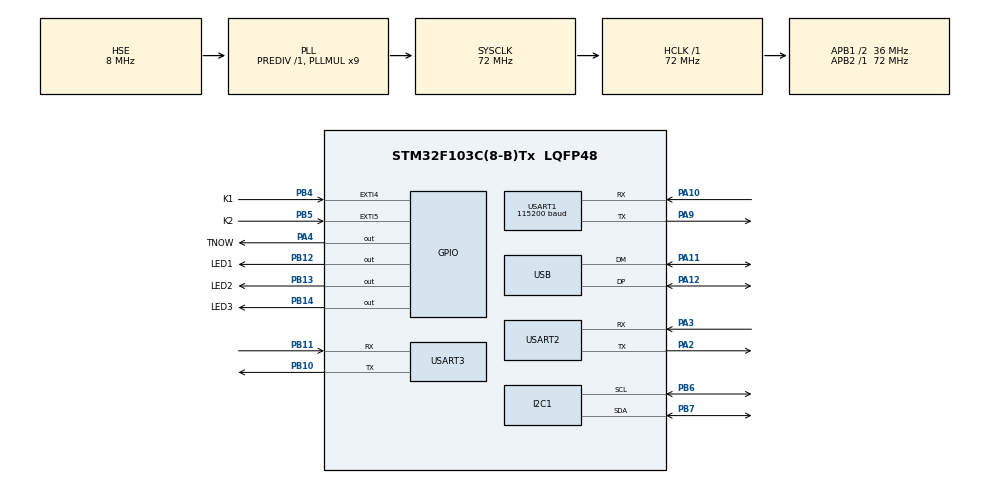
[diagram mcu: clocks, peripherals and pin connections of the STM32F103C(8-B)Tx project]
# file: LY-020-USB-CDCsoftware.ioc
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Mcu.Family=STM32F1
Mcu.Name=STM32F103C(8-B)Tx
Mcu.Package=LQFP48
NVIC.EXTI4_IRQn=true\:0\:0\:false\:false\:true\:true\:true\:true
NVIC.EXTI9_5_IRQn=true\:0\:0\:false\:false\:true\:true\:true\:true
NVIC.PriorityGroup=NVIC_PRIORITYGROUP_4
NVIC.RCC_IRQn=true\:0\:0\:false\:false\:true\:true\:false\:true
NVIC.USB_LP_CAN1_RX0_IRQn=true\:0\:0\:false\:false\:true\:false\:true\:true
PA10.Mode=Asynchronous
PA10.Signal=USART1_RX
PA11.Mode=Device
PA11.Signal=USB_DM
PA12.Mode=Device
PA12.Signal=USB_DP
PA13.Mode=Serial_Wire
PA13.Signal=SYS_JTMS-SWDIO
PA14.Mode=Serial_Wire
PA14.Signal=SYS_JTCK-SWCLK
PA2.Mode=Asynchronous
PA2.Signal=USART2_TX
PA3.Mode=Asynchronous
PA3.Signal=USART2_RX
PA4.GPIO_Label=TNOW
PA4.GPIO_Speed=GPIO_SPEED_FREQ_MEDIUM
PA4.Signal=GPIO_Output
PA9.Mode=Asynchronous
PA9.Signal=USART1_TX
PB10.Mode=Asynchronous
PB10.Signal=USART3_TX
PB11.Mode=Asynchronous
PB11.Signal=USART3_RX
PB12.GPIO_Label=LED1
PB12.Signal=GPIO_Output
PB13.GPIO_Label=LED2
PB13.Signal=GPIO_Output
PB14.GPIO_Label=LED3
PB14.Signal=GPIO_Output
PB4.GPIO_Label=K1
PB4.GPIO_ModeDefaultEXTI=GPIO_MODE_IT_FALLING
PB4.Signal=GPXTI4
PB5.GPIO_Label=K2
PB5.GPIO_ModeDefaultEXTI=GPIO_MODE_IT_FALLING
PB5.Signal=GPXTI5
PB6.Mode=I2C
PB6.Signal=I2C1_SCL
PB7.Mode=I2C
PB7.Signal=I2C1_SDA
PB8.Signal=CAN_RX
PB9.Signal=CAN_TX
PC14-OSC32_IN.Mode=LSE-External-Oscillator
PC14-OSC32_IN.Signal=RCC_OSC32_IN
PC15-OSC32_OUT.Mode=LSE-External-Oscillator
PC15-OSC32_OUT.Signal=RCC_OSC32_OUT
PD0-OSC_IN.Mode=HSE-External-Oscillator
PD0-OSC_IN.Signal=RCC_OSC_IN
PD1-OSC_OUT.Mode=HSE-External-Oscillator
PD1-OSC_OUT.Signal=RCC_OSC_OUT
ProjectManager.HeapSize=0x400
ProjectManager.StackSize=0x800
ProjectManager.TargetToolchain=MDK-ARM V5.32
RCC.AHBFreq_Value=72000000
RCC.APB1CLKDivider=RCC_HCLK_DIV2
RCC.APB1Freq_Value=36000000
RCC.APB1TimFreq_Value=72000000
RCC.APB2Freq_Value=72000000
RCC.APB2TimFreq_Value=72000000
RCC.HCLKFreq_Value=72000000
RCC.PLLMUL=RCC_PLL_MUL9
RCC.PLLSourceVirtual=RCC_PLLSOURCE_HSE
RCC.SYSCLKFreq_VALUE=72000000
RCC.SYSCLKSource=RCC_SYSCLKSOURCE_PLLCLK
RCC.USBFreq_Value=48000000
RCC.USBPrescaler=RCC_USBCLKSOURCE_PLL_DIV1_5
USART1.BaudRate=115200
USART1.VirtualMode=VM_ASYNC
USART2.VirtualMode=VM_ASYNC
USART3.VirtualMode=VM_ASYNC
USB_DEVICE.CLASS_NAME_FS=CDC
USB_DEVICE.USBD_SELF_POWERED=0
USB_DEVICE.VirtualMode=Cdc
USB_DEVICE.VirtualModeFS=Cdc_FS
VP_USB_DEVICE_VS_USB_DEVICE_CDC_FS.Mode=CDC_FS
board=custom

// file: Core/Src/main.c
/* USER CODE BEGIN Header */
/**
  ******************************************************************************
  * @file           : main.c
  * @brief          : Main program body
  ******************************************************************************
  * @attention
  *
  * Copyright (c) 2025 STMicroelectronics.
  * All rights reserved.
  *
  * This software is licensed under terms that can be found in the LICENSE file
  * in the root directory of this software component.
  * If no LICENSE file comes with this software, it is provided AS-IS.
  *
  ******************************************************************************
  */
/* USER CODE END Header */
#include "main.h"
#include "usb_device.h"

/* USER CODE BEGIN Includes */
#include "stdio.h"
#include "OLED_IIC_Config.h"
#include "OLED_Function.h"
#include "OLED_Front.h"
/* USER CODE END Includes */

I2C_HandleTypeDef hi2c1;

UART_HandleTypeDef huart1;
UART_HandleTypeDef huart2;
UART_HandleTypeDef huart3;

/* USER CODE BEGIN PV */
char buff[] = "USB CDC TESTING Hello World!\r\n";
/* USER CODE END PV */

void SystemClock_Config(void);
static void MX_GPIO_Init(void);
static void MX_USART1_UART_Init(void);
static void MX_I2C1_Init(void);
static void MX_USART2_UART_Init(void);
static void MX_USART3_UART_Init(void);

/* USER CODE BEGIN 0 */

#ifdef __GNUC__
  #define PUTCHAR_PROTOTYPE int __io_putchar(int ch)
#else
  #define PUTCHAR_PROTOTYPE int fputc(int ch, FILE *f)
#endif

PUTCHAR_PROTOTYPE
{
  HAL_UART_Transmit(&huart1,(uint8_t *)&ch,1,0xFFFF); //阻塞方式打印,串口1
  return ch;
}

/*
void USB_Disconnected(void) {
    __HAL_RCC_USB_FORCE_RESET();
    HAL_Delay(200);
    __HAL_RCC_USB_RELEASE_RESET();

    GPIO_InitTypeDef GPIO_Initure;
    __HAL_RCC_GPIOA_CLK_ENABLE();

    GPIO_Initure.Pin = GPIO_PIN_11 | GPIO_PIN_12;
    GPIO_Initure.Mode = GPIO_MODE_OUTPUT_PP;
    GPIO_Initure.Pull = GPIO_PULLDOWN;
    GPIO_Initure.Speed = GPIO_SPEED_FREQ_HIGH;
    HAL_GPIO_Init(GPIOA, &GPIO_Initure);

    HAL_GPIO_WritePin(GPIOA, GPIO_PIN_11, GPIO_PIN_RESET);
    HAL_GPIO_WritePin(GPIOA, GPIO_PIN_12, GPIO_PIN_RESET);
    HAL_Delay(300);
}
*/

/* USER CODE END 0 */

int main(void)
{

  /* MCU Configuration--------------------------------------------------------*/

  /* Reset of all peripherals, Initializes the Flash interface and the Systick. */
  HAL_Init();

  /* Configure the system clock */
  SystemClock_Config();

  /* Initialize all configured peripherals */
  MX_GPIO_Init();
  MX_USART1_UART_Init();
  MX_I2C1_Init();
  MX_USART2_UART_Init();
  MX_USART3_UART_Init();
  MX_USB_DEVICE_Init();

  /* Infinite loop */
  while (1)
  {

    /* USER CODE BEGIN 3 */
		 CDC_Transmit_FS(buff,sizeof(buff)); //USB 虚拟串口发送数据
	  //HAL_Delay(500);

	 // printf("LAN YUAN TECH\r\n");

	  //HAL_UART_Transmit(&huart1,"LAN YUAN TECH\r\n",strlen("LAN YUAN TECH\r\n"),0xFFFF);

	  HAL_GPIO_TogglePin(LED1_GPIO_Port, LED1_Pin);
	  HAL_Delay(200);
	  HAL_GPIO_TogglePin(LED2_GPIO_Port, LED2_Pin);
	  HAL_Delay(200);
	  HAL_GPIO_TogglePin(LED3_GPIO_Port, LED3_Pin);
	  HAL_Delay(200);
	  HAL_GPIO_TogglePin(LED1_GPIO_Port, LED1_Pin);
	  HAL_Delay(200);
	  HAL_GPIO_TogglePin(LED2_GPIO_Port, LED2_Pin);
	  HAL_Delay(200);
	  HAL_GPIO_TogglePin(LED3_GPIO_Port, LED3_Pin);
	  HAL_Delay(200);

	  //printf("LAN YUAN TECH\r\n"); //USART1发送-USB
	  HAL_UART_Transmit(&huart1,"LAN YUAN TECH\r\n",strlen("LAN YUAN TECH\r\n"),0xFFFF);

	  HAL_GPIO_WritePin(TNOW_GPIO_Port, TNOW_Pin, SET);								//USART2-TNOW 高电平 发送使能
	  HAL_UART_Transmit(&huart2,"LAN YUAN TECH",strlen("LAN YUAN TECH"),0xFFFF);	//USART2发送-RS485
	  HAL_GPIO_WritePin(TNOW_GPIO_Port, TNOW_Pin, RESET);							//USART2-TNOW 低电平 接收使能

	  HAL_UART_Transmit(&huart3,"LAN YUAN TECH",strlen("LAN YUAN TECH"),0xFFFF);	//USART3发送-RS232

	 	      OLED_ShowBMP(0,0,52,48,(unsigned char *)astronaut_0);
	 	      OLED_ShowBMP(0,0,52,48,(unsigned char *)astronaut_1);
	 	      OLED_ShowBMP(0,0,52,48,(unsigned char *)astronaut_2);
	 	      OLED_ShowBMP(0,0,52,48,(unsigned char *)astronaut_3);
	 	      OLED_ShowBMP(0,0,52,48,(unsigned char *)astronaut_4);
	 	      OLED_ShowBMP(0,0,52,48,(unsigned char *)astronaut_5);
	 	      OLED_ShowBMP(0,0,52,48,(unsigned char *)astronaut_6);
	 	      OLED_ShowBMP(0,0,52,48,(unsigned char *)astronaut_7);
	 	      OLED_ShowBMP(0,0,52,48,(unsigned char *)astronaut_8);
	 	      OLED_ShowBMP(0,0,52,48,(unsigned char *)astronaut_9);

	 	      printf("PIC cycle DISP ++\r\n");

  }
  /* USER CODE END 3 */
}

void SystemClock_Config(void)
{
  RCC_OscInitTypeDef RCC_OscInitStruct = {0};
  RCC_ClkInitTypeDef RCC_ClkInitStruct = {0};
  RCC_PeriphCLKInitTypeDef PeriphClkInit = {0};

  /** Initializes the RCC Oscillators according to the specified parameters
  * in the RCC_OscInitTypeDef structure.
  */
  RCC_OscInitStruct.OscillatorType = RCC_OSCILLATORTYPE_HSE;
  RCC_OscInitStruct.HSEState = RCC_HSE_ON;
  RCC_OscInitStruct.HSEPredivValue = RCC_HSE_PREDIV_DIV1;
  RCC_OscInitStruct.HSIState = RCC_HSI_ON;
  RCC_OscInitStruct.PLL.PLLState = RCC_PLL_ON;
  RCC_OscInitStruct.PLL.PLLSource = RCC_PLLSOURCE_HSE;
  RCC_OscInitStruct.PLL.PLLMUL = RCC_PLL_MUL9;
  if (HAL_RCC_OscConfig(&RCC_OscInitStruct) != HAL_OK)
  {
    Error_Handler();
  }

  /** Initializes the CPU, AHB and APB buses clocks
  */
  RCC_ClkInitStruct.ClockType = RCC_CLOCKTYPE_HCLK|RCC_CLOCKTYPE_SYSCLK
                              |RCC_CLOCKTYPE_PCLK1|RCC_CLOCKTYPE_PCLK2;
  RCC_ClkInitStruct.SYSCLKSource = RCC_SYSCLKSOURCE_PLLCLK;
  RCC_ClkInitStruct.AHBCLKDivider = RCC_SYSCLK_DIV1;
  RCC_ClkInitStruct.APB1CLKDivider = RCC_HCLK_DIV2;
  RCC_ClkInitStruct.APB2CLKDivider = RCC_HCLK_DIV1;

  if (HAL_RCC_ClockConfig(&RCC_ClkInitStruct, FLASH_LATENCY_2) != HAL_OK)
  {
    Error_Handler();
  }
  PeriphClkInit.PeriphClockSelection = RCC_PERIPHCLK_USB;
  PeriphClkInit.UsbClockSelection = RCC_USBCLKSOURCE_PLL_DIV1_5;
  if (HAL_RCCEx_PeriphCLKConfig(&PeriphClkInit) != HAL_OK)
  {
    Error_Handler();
  }
}

static void MX_I2C1_Init(void)
{

  hi2c1.Instance = I2C1;
  hi2c1.Init.ClockSpeed = 100000;
  hi2c1.Init.DutyCycle = I2C_DUTYCYCLE_2;
  hi2c1.Init.OwnAddress1 = 0;
  hi2c1.Init.AddressingMode = I2C_ADDRESSINGMODE_7BIT;
  hi2c1.Init.DualAddressMode = I2C_DUALADDRESS_DISABLE;
  hi2c1.Init.OwnAddress2 = 0;
  hi2c1.Init.GeneralCallMode = I2C_GENERALCALL_DISABLE;
  hi2c1.Init.NoStretchMode = I2C_NOSTRETCH_DISABLE;
  if (HAL_I2C_Init(&hi2c1) != HAL_OK)
  {
    Error_Handler();
  }

}

static void MX_USART1_UART_Init(void)
{

  huart1.Instance = USART1;
  huart1.Init.BaudRate = 115200;
  huart1.Init.WordLength = UART_WORDLENGTH_8B;
  huart1.Init.StopBits = UART_STOPBITS_1;
  huart1.Init.Parity = UART_PARITY_NONE;
  huart1.Init.Mode = UART_MODE_TX_RX;
  huart1.Init.HwFlowCtl = UART_HWCONTROL_NONE;
  huart1.Init.OverSampling = UART_OVERSAMPLING_16;
  if (HAL_UART_Init(&huart1) != HAL_OK)
  {
    Error_Handler();
  }

}

static void MX_USART2_UART_Init(void)
{

  huart2.Instance = USART2;
  huart2.Init.BaudRate = 115200;
  huart2.Init.WordLength = UART_WORDLENGTH_8B;
  huart2.Init.StopBits = UART_STOPBITS_1;
  huart2.Init.Parity = UART_PARITY_NONE;
  huart2.Init.Mode = UART_MODE_TX_RX;
  huart2.Init.HwFlowCtl = UART_HWCONTROL_NONE;
  huart2.Init.OverSampling = UART_OVERSAMPLING_16;
  if (HAL_UART_Init(&huart2) != HAL_OK)
  {
    Error_Handler();
  }

}

static void MX_USART3_UART_Init(void)
{

  huart3.Instance = USART3;
  huart3.Init.BaudRate = 115200;
  huart3.Init.WordLength = UART_WORDLENGTH_8B;
  huart3.Init.StopBits = UART_STOPBITS_1;
  huart3.Init.Parity = UART_PARITY_NONE;
  huart3.Init.Mode = UART_MODE_TX_RX;
  huart3.Init.HwFlowCtl = UART_HWCONTROL_NONE;
  huart3.Init.OverSampling = UART_OVERSAMPLING_16;
  if (HAL_UART_Init(&huart3) != HAL_OK)
  {
    Error_Handler();
  }

}

static void MX_GPIO_Init(void)
{
  GPIO_InitTypeDef GPIO_InitStruct = {0};

  /* GPIO Ports Clock Enable */
  __HAL_RCC_GPIOC_CLK_ENABLE();
  __HAL_RCC_GPIOD_CLK_ENABLE();
  __HAL_RCC_GPIOA_CLK_ENABLE();
  __HAL_RCC_GPIOB_CLK_ENABLE();

  /*Configure GPIO pin Output Level */
  HAL_GPIO_WritePin(TNOW_GPIO_Port, TNOW_Pin, GPIO_PIN_RESET);

  /*Configure GPIO pin Output Level */
  HAL_GPIO_WritePin(GPIOB, LED1_Pin|LED2_Pin|LED3_Pin, GPIO_PIN_RESET);

  /*Configure GPIO pin : TNOW_Pin */
  GPIO_InitStruct.Pin = TNOW_Pin;
  GPIO_InitStruct.Mode = GPIO_MODE_OUTPUT_PP;
  GPIO_InitStruct.Pull = GPIO_NOPULL;
  GPIO_InitStruct.Speed = GPIO_SPEED_FREQ_MEDIUM;
  HAL_GPIO_Init(TNOW_GPIO_Port, &GPIO_InitStruct);

  /*Configure GPIO pins : LED1_Pin LED2_Pin LED3_Pin */
  GPIO_InitStruct.Pin = LED1_Pin|LED2_Pin|LED3_Pin;
  GPIO_InitStruct.Mode = GPIO_MODE_OUTPUT_PP;
  GPIO_InitStruct.Pull = GPIO_NOPULL;
  GPIO_InitStruct.Speed = GPIO_SPEED_FREQ_LOW;
  HAL_GPIO_Init(GPIOB, &GPIO_InitStruct);

  /*Configure GPIO pins : K1_Pin K2_Pin */
  GPIO_InitStruct.Pin = K1_Pin|K2_Pin;
  GPIO_InitStruct.Mode = GPIO_MODE_IT_FALLING;
  GPIO_InitStruct.Pull = GPIO_NOPULL;
  HAL_GPIO_Init(GPIOB, &GPIO_InitStruct);

  /*Configure GPIO pin : PB8 */
  GPIO_InitStruct.Pin = GPIO_PIN_8;
  GPIO_InitStruct.Mode = GPIO_MODE_INPUT;
  GPIO_InitStruct.Pull = GPIO_NOPULL;
  HAL_GPIO_Init(GPIOB, &GPIO_InitStruct);

  /*Configure GPIO pin : PB9 */
  GPIO_InitStruct.Pin = GPIO_PIN_9;
  GPIO_InitStruct.Mode = GPIO_MODE_AF_PP;
  GPIO_InitStruct.Speed = GPIO_SPEED_FREQ_HIGH;
  HAL_GPIO_Init(GPIOB, &GPIO_InitStruct);

  /*Configure peripheral I/O remapping */
  __HAL_AFIO_REMAP_CAN1_2();

  /* EXTI interrupt init*/
  HAL_NVIC_SetPriority(EXTI4_IRQn, 0, 0);
  HAL_NVIC_EnableIRQ(EXTI4_IRQn);

  HAL_NVIC_SetPriority(EXTI9_5_IRQn, 0, 0);
  HAL_NVIC_EnableIRQ(EXTI9_5_IRQn);

}

/* USER CODE BEGIN 4 */

// 在 main.c 中重写回调函数
void HAL_GPIO_EXTI_Callback(uint16_t GPIO_Pin)
{
    if (GPIO_Pin == K1_Pin)
    {  // KEY_PIN 需替换为你的引脚（如 GPIO_PIN_0）
        // 简单消抖：延时检测电平是否稳定
        //HAL_Delay(10);  // 注意：中断内慎用延时，实际项目建议用标记位+主循环处理
        if (HAL_GPIO_ReadPin(K1_GPIO_Port, K1_Pin) == GPIO_PIN_RESET)
        {
            // 执行按键操作，如翻转 LED
        	HAL_GPIO_TogglePin(LED3_GPIO_Port, LED3_Pin);
            //printf("KEY1 trigger \r\n");
        	HAL_UART_Transmit(&huart1,"KEY1 trigger \r\n",strlen("KEY1 trigger \r\n"),0xFFFF);
        }
    }

    if (GPIO_Pin == K2_Pin) {  // KEY_PIN 需替换为你的引脚（如 GPIO_PIN_0）
            // 简单消抖：延时检测电平是否稳定
          //  HAL_Delay(10);  // 注意：中断内慎用延时，实际项目建议用标记位+主循环处理
            if (HAL_GPIO_ReadPin(K2_GPIO_Port, K2_Pin) == GPIO_PIN_RESET)
            {
                // 执行按键操作，如翻转 LED
            	HAL_GPIO_TogglePin(LED2_GPIO_Port, LED2_Pin);
                //printf("KEY2 trigger\r\n");
                HAL_UART_Transmit(&huart1,"KEY2 trigger \r\n",strlen("KEY2 trigger \r\n"),0xFFFF);
            }
        }

}

/* USER CODE END 4 */

void Error_Handler(void)
{
  __disable_irq();
  while (1)
  {
  }
}
